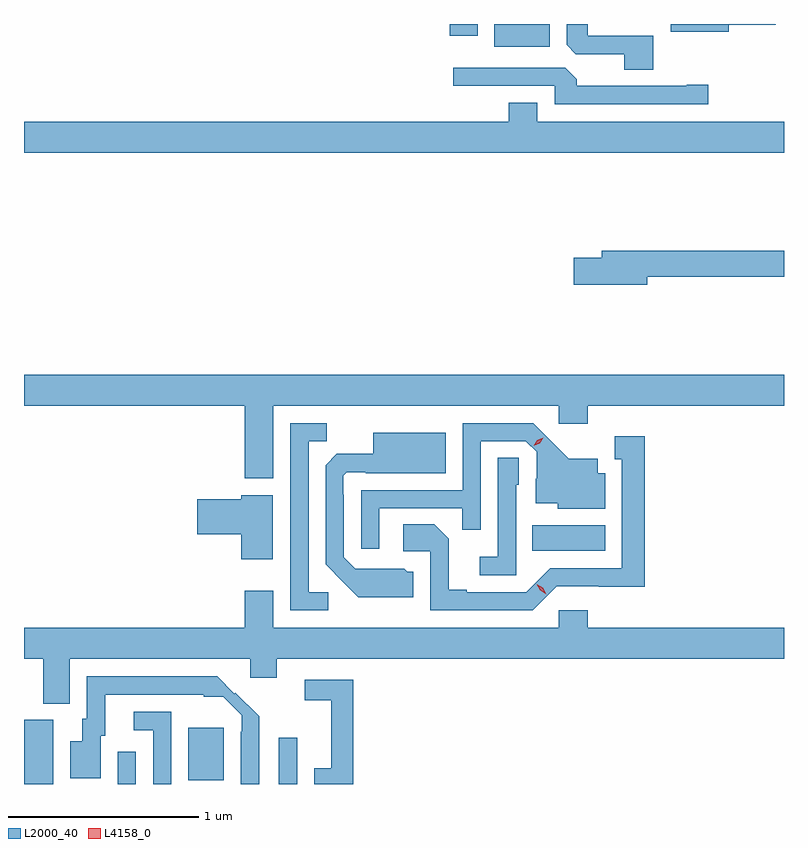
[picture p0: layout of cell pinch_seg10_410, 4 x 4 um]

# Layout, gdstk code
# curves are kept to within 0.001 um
import gdstk
lib = gdstk.Library(unit=1e-6, precision=1e-09)
def R(c, l, rs):  # rectangles x0, y0, x1, y1
    for r in rs: c.add(gdstk.rectangle(r[:2], r[2:], *l))
def P(c, l, *ps):  # polygons
    for p in ps: c.add(gdstk.Polygon(p, *l))
L2000_40 = (2000, 40)
L4158_0 = (4158, 0)

pinch_seg10_410 = lib.new_cell('pinch_seg10_410')
R(pinch_seg10_410, L2000_40, [(363.353,1292.998,363.508,1293.336), (363.846,1292.998,363.942,1293.169), (364.695,1292.998,364.791,1293.241), (364.217,1293.017,364.405,1293.295), (366.028,1294.226,366.412,1294.36), (365.828,1296.878,366.121,1296.998), (365.594,1296.936,365.74,1296.998)])
P(pinch_seg10_410, L2000_40, [(366.665,1296.936),(366.321,1296.936),(366.321,1296.998),(366.209,1296.998),(366.209,1296.889),(366.258,1296.84),(366.512,1296.84),(366.512,1296.757),(366.665,1296.757)],
  [(367.063,1296.995),(367.309,1296.995),(367.309,1296.998),(366.756,1296.998),(366.756,1296.956),(367.063,1296.956)],
  [(366.955,1296.677),(366.842,1296.677),(366.842,1296.672),(366.263,1296.672),(366.263,1296.706),(366.201,1296.768),(365.613,1296.768),(365.613,1296.672),(366.147,1296.672),(366.147,1296.576),(366.955,1296.576)],
  [(367.353,1296.484),(366.055,1296.484),(366.055,1296.583),(365.903,1296.583),(365.903,1296.484),(363.353,1296.484),(363.353,1296.32),(367.353,1296.32)],
  [(366.634,1295.668),(367.353,1295.668),(367.353,1295.804),(366.395,1295.804),(366.395,1295.768),(366.246,1295.768),(366.246,1295.626),(366.634,1295.626)],
  [(364.666,1294.988),(366.168,1294.988),(366.168,1294.893),(366.32,1294.893),(366.32,1294.988),(367.353,1294.988),(367.353,1295.152),(363.353,1295.152),(363.353,1294.988),(364.514,1294.988),(364.514,1294.608),(364.666,1294.608)],
  [(365.223,1294.449),(365.659,1294.449),(365.659,1294.336),(365.757,1294.336),(365.757,1294.803),(365.994,1294.803),(366.051,1294.746),(366.051,1294.604),(366.047,1294.604),(366.047,1294.475),(366.162,1294.475),(366.162,1294.448),(366.412,1294.448),(366.412,1294.633),(366.373,1294.633),(366.373,1294.711),(366.221,1294.711),(366.034,1294.896),(365.661,1294.896),(365.661,1294.545),(365.127,1294.545),(365.127,1294.236),(365.223,1294.236)],
  [(364.954,1294.008),(364.851,1294.008),(364.851,1294.801),(364.947,1294.801),(364.947,1294.896),(364.755,1294.896),(364.755,1293.912),(364.954,1293.912)],
  [(365.401,1294.116),(365.37,1294.116),(365.354,1294.132),(365.097,1294.131),(365.037,1294.191),(365.037,1294.52),(365.034,1294.52),(365.034,1294.62),(365.052,1294.638),(365.152,1294.638),(365.152,1294.634),(365.572,1294.634),(365.572,1294.846),(365.192,1294.846),(365.192,1294.735),(365,1294.735),(364.941,1294.676),(364.941,1294.154),(365.113,1293.98),(365.401,1293.98)],
  [(366.156,1294.038),(366.619,1294.037),(366.619,1294.828),(366.461,1294.828),(366.461,1294.707),(366.5,1294.707),(366.5,1294.134),(366.123,1294.134),(365.997,1294.008),(365.683,1294.008),(365.683,1294.021),(365.589,1294.021),(365.589,1294.288),(365.513,1294.364),(365.349,1294.364),(365.349,1294.224),(365.49,1294.224),(365.49,1293.912),(366.03,1293.912)],
  [(365.943,1294.572),(365.958,1294.572),(365.958,1294.715),(365.847,1294.715),(365.847,1294.195),(365.751,1294.195),(365.751,1294.098),(365.943,1294.098)],
  [(364.663,1294.519),(364.496,1294.519),(364.496,1294.496),(364.266,1294.496),(364.266,1294.313),(364.496,1294.313),(364.496,1294.182),(364.663,1294.182)],
  [(363.595,1293.656),(364.544,1293.656),(364.544,1293.557),(364.684,1293.557),(364.684,1293.656),(367.353,1293.656),(367.353,1293.82),(366.32,1293.82),(366.32,1293.913),(366.168,1293.913),(366.168,1293.82),(364.666,1293.82),(364.666,1294.015),(364.514,1294.015),(364.514,1293.82),(363.353,1293.82),(363.353,1293.656),(363.455,1293.656),(363.455,1293.421),(363.595,1293.421)],
  [(364.59,1293.355),(364.466,1293.479),(364.46,1293.473),(364.369,1293.564),(363.684,1293.564),(363.684,1293.342),(363.659,1293.342),(363.659,1293.223),(363.596,1293.223),(363.596,1293.027),(363.757,1293.027),(363.757,1293.252),(363.781,1293.252),(363.781,1293.468),(364.3,1293.468),(364.3,1293.458),(364.401,1293.458),(364.5,1293.359),(364.5,1293.274),(364.494,1293.274),(364.494,1292.998),(364.59,1292.998)],
  [(365.087,1293.546),(364.83,1293.546),(364.83,1293.438),(364.97,1293.438),(364.97,1293.082),(364.88,1293.082),(364.88,1292.998),(365.087,1292.998)],
  [(364.128,1293.378),(363.93,1293.378),(363.93,1293.282),(364.032,1293.282),(364.032,1292.998),(364.128,1292.998)])
P(pinch_seg10_410, L4158_0, [(366.101,1293.998),(366.069,1294.017),(366.052,1294.049),(366.052,1294.05),(366.052,1294.05),(366.084,1294.03),(366.101,1293.998),(366.101,1293.998)],
  [(366.036,1294.777),(366.036,1294.777),(366.054,1294.807),(366.085,1294.821),(366.085,1294.821),(366.085,1294.821),(366.067,1294.792),(366.036,1294.777)])

lib.write_gds('pinch_seg10_410.gds')
